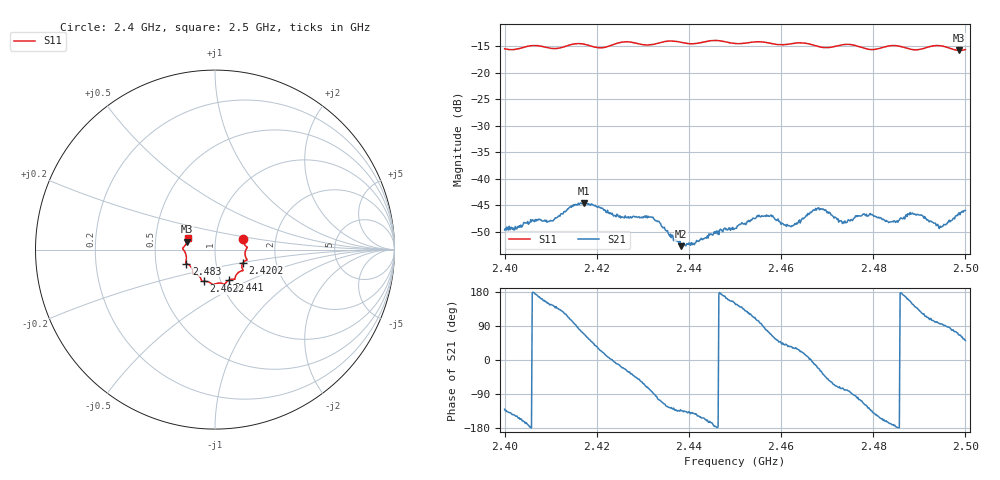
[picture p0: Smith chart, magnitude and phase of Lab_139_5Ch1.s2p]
# Hz S RI R 50
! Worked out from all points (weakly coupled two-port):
!   601 points, 2.4 GHz to 2.5 GHz, reference 50 ohm
!   highest |S21| = -44.59 dB at 2.4172 GHz (marker M1); lowest = -52.8 dB at 2.4383 GHz (marker M2)
!   lowest |S11| = -15.8 dB at 2.4987 GHz (marker M3), VSWR 1.39, Z = 36.4 + j3.31 ohm
!   |S11| at or under -10 dB: start of sweep to end of sweep
!   S12 and S22 are empty: the file has one direction only
!   S11 on the Smith chart (normalised r, x): 2.4 GHz: 1.36, +0.17; 2.4202 GHz: 1.35, -0.20; 2.441 GHz: 1.10, -0.39; 2.4622 GHz: 0.83, -0.30; 2.483 GHz: 0.72, -0.12; 2.5 GHz: 0.73, +0.09
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2.4e9  0.1565 0.0603  -0.0021 -0.00251  0 0  0 0
2.410167e9  0.169 -0.00921  -0.00332 0.00223  0 0  0 0
2.416667e9  0.1777 -0.0582  0.00147 0.00562  0 0  0 0
2.417167e9  0.1761 -0.059  0.00214 0.00549  0 0  0 0
2.420167e9  0.1561 -0.0721  0.00449 0.00291  0 0  0 0
2.423667e9  0.1513 -0.1048  0.00443 -0.000283  0 0  0 0
2.433333e9  0.1131 -0.1523  -0.00097 -0.00385  0 0  0 0
2.438333e9  0.1009 -0.1642  -0.0016 -0.00165  0 0  0 0
2.441e9  0.077 -0.1705  -0.00186 -0.00153  0 0  0 0
2.45e9  0.0266 -0.1864  -0.0029 0.00175  0 0  0 0
2.457333e9  -0.0203 -0.1893  0.00129 0.00422  0 0  0 0
2.462167e9  -0.063 -0.1765  0.00286 0.00205  0 0  0 0
2.466667e9  -0.0765 -0.1671  0.00485 -0.000265  0 0  0 0
2.469167e9  -0.0892 -0.1478  0.00409 -0.00315  0 0  0 0
2.473667e9  -0.1236 -0.1363  0.000761 -0.00373  0 0  0 0
2.478e9  -0.126 -0.1137  -0.00201 -0.0042  0 0  0 0
2.483e9  -0.159 -0.0781  -0.0038 -0.00113  0 0  0 0
2.483333e9  -0.1606 -0.0774  -0.00373 -0.000942  0 0  0 0
2.4885e9  -0.1597 -0.0418  -0.00398 0.00257  0 0  0 0
2.494667e9  -0.1788 0.00928  -0.000347 0.00346  0 0  0 0
2.498667e9  -0.1557 0.0442  0.00198 0.00433  0 0  0 0
2.5e9  -0.1527 0.0628  0.00313 0.0039  0 0  0 0
